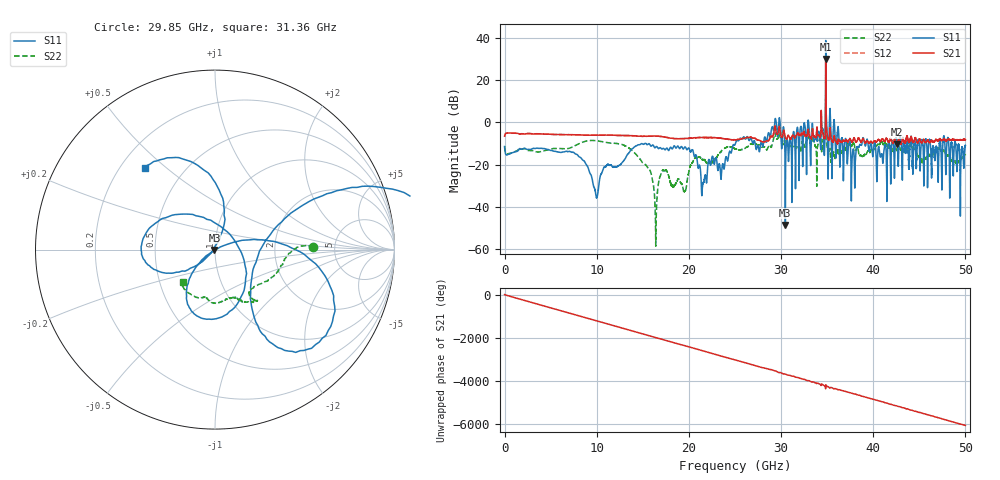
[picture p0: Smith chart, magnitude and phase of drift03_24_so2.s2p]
!Created with skrf (http://scikit-rf.org).
# Hz S RI R 50.0
!freq ReS11 ImS11 ReS21 ImS21 ReS12 ImS12 ReS22 ImS22
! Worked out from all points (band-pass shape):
!   10001 points, 300 kHz to 50 GHz, reference 50 ohm
!   highest |S21| = 30.12 dB at 34.85 GHz (marker M1); lowest = -10.4 dB at 42.55 GHz (marker M2)
!   |S21| within 3 dB of the highest: 34.84414 GHz to 34.84595 GHz (1.806 MHz wide, 0.00518 % of centre)
!   lowest |S11| = -48.7 dB at 30.47 GHz (marker M3), VSWR 1.01, Z = 49.7 - j0.136 ohm
!   |S11| at or under -10 dB: start of sweep to 15.22 GHz; 15.32 GHz to 25.05 GHz (9.728 GHz wide, 48.2 % of centre); 40.22 GHz to 41.63 GHz (1.412 GHz wide, 3.45 % of centre) (the widest 3 of 56)
!   |S22| runs from -58.7 to 21.3 dB; largest |S21 - S12| = 4.7
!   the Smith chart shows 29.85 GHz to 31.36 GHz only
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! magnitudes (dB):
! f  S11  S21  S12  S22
! 300 kHz  -11.4  -6.5  -6.4  -11.4
! 8.335 GHz  -17.1  -6.0  -6.0  -9.6
! 9.955 GHz  -35.6  -6.1  -6.1  -8.7
! 11.01 GHz  -20.9  -6.0  -6.0  -9.5
! 15.52 GHz  -10.5  -6.6  -6.6  -21.4
! 16.37 GHz  -11.9  -6.5  -6.5  -46.6
! 16.67 GHz  -12.4  -6.6  -6.5  -29.5
! 17.34 GHz  -12.8  -6.9  -6.9  -22.8
! 19.54 GHz  -11.7  -7.7  -7.7  -32.5
! 20.21 GHz  -13.9  -7.5  -7.5  -20.1
! 21.55 GHz  -28.4  -7.2  -7.2  -17.7
! 25 GHz  -10.6  -8.3  -8.3  -12.6
! 29.6 GHz  -5.5  -5.7  -5.9  -7.9
! 30.47 GHz  -48.7  -7.2  -7.2  -9.1
! 33.34 GHz  -3.8  -6.8  -6.8  -9.4
! 34.85 GHz  38.9  30.1  30.0  21.3
! 35.63 GHz  -6.5  -9.3  -9.2  -16.0
! 37.82 GHz  -12.8  -8.3  -8.4  -10.0
! 38.81 GHz  -9.2  -8.3  -8.3  -16.2
! 41.67 GHz  -9.6  -9.5  -9.4  -11.5
! 42.55 GHz  -8.2  -10.4  -10.5  -13.2
! 50 GHz  -10.9  -8.2  -8.2  -15.6
